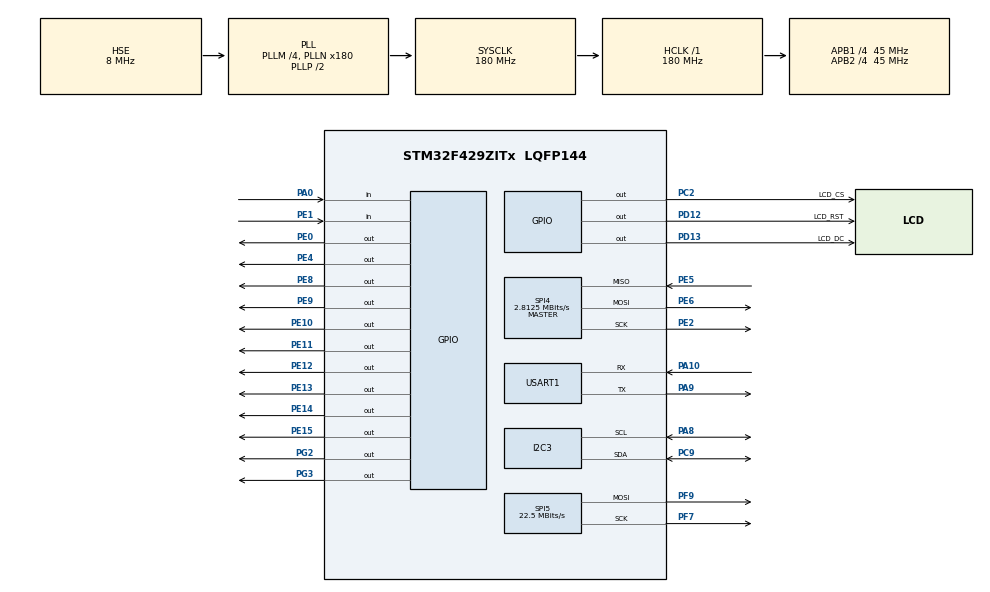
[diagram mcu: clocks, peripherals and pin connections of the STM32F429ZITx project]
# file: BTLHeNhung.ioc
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Dma.Request0=SPI5_TX
Dma.SPI5_TX.0.Direction=DMA_MEMORY_TO_PERIPH
Dma.SPI5_TX.0.FIFOMode=DMA_FIFOMODE_DISABLE
Dma.SPI5_TX.0.Instance=DMA2_Stream4
Dma.SPI5_TX.0.MemDataAlignment=DMA_MDATAALIGN_BYTE
Dma.SPI5_TX.0.MemInc=DMA_MINC_ENABLE
Dma.SPI5_TX.0.Mode=DMA_NORMAL
Dma.SPI5_TX.0.PeriphDataAlignment=DMA_PDATAALIGN_BYTE
Dma.SPI5_TX.0.PeriphInc=DMA_PINC_DISABLE
Dma.SPI5_TX.0.Priority=DMA_PRIORITY_LOW
I2C3.I2C_Mode=I2C_Standard
Mcu.Family=STM32F4
Mcu.Name=STM32F429ZITx
Mcu.Package=LQFP144
NVIC.DMA2_Stream4_IRQn=true\:0\:0\:false\:false\:true\:false\:true\:true
NVIC.PriorityGroup=NVIC_PRIORITYGROUP_4
NVIC.TIM6_DAC_IRQn=true\:0\:0\:false\:false\:true\:true\:true\:true
PA0/WKUP.Signal=GPIO_Input
PA10.Mode=Asynchronous
PA10.Signal=USART1_RX
PA13.Mode=Serial_Wire
PA13.Signal=SYS_JTMS-SWDIO
PA14.Mode=Serial_Wire
PA14.Signal=SYS_JTCK-SWCLK
PA8.Mode=I2C
PA8.Signal=I2C3_SCL
PA9.Mode=Asynchronous
PA9.Signal=USART1_TX
PC2.GPIO_Label=LCD_CS
PC2.GPIO_Speed=GPIO_SPEED_FREQ_VERY_HIGH
PC2.PinState=GPIO_PIN_SET
PC2.Signal=GPIO_Output
PC9.Mode=I2C
PC9.Signal=I2C3_SDA
PD12.GPIO_Label=LCD_RST
PD12.GPIO_Speed=GPIO_SPEED_FREQ_VERY_HIGH
PD12.PinState=GPIO_PIN_SET
PD12.Signal=GPIO_Output
PD13.GPIO_Label=LCD_DC
PD13.GPIO_Speed=GPIO_SPEED_FREQ_VERY_HIGH
PD13.Signal=GPIO_Output
PE0.Signal=GPIO_Output
PE1.Signal=GPIO_Input
PE10.Signal=GPIO_Output
PE11.Signal=GPIO_Output
PE12.Signal=GPIO_Output
PE13.Signal=GPIO_Output
PE14.Signal=GPIO_Output
PE15.Signal=GPIO_Output
PE2.Mode=Full_Duplex_Master
PE2.Signal=SPI4_SCK
PE4.Signal=GPIO_Output
PE5.Mode=Full_Duplex_Master
PE5.Signal=SPI4_MISO
PE6.Mode=Full_Duplex_Master
PE6.Signal=SPI4_MOSI
PE8.Signal=GPIO_Output
PE9.Signal=GPIO_Output
PF7.Mode=TX_Only_Simplex_Unidirect_Master
PF7.Signal=SPI5_SCK
PF9.Mode=TX_Only_Simplex_Unidirect_Master
PF9.Signal=SPI5_MOSI
PG2.Signal=GPIO_Output
PG3.Signal=GPIO_Output
PH0/OSC_IN.Mode=HSE-External-Oscillator
PH0/OSC_IN.Signal=RCC_OSC_IN
PH1/OSC_OUT.Mode=HSE-External-Oscillator
PH1/OSC_OUT.Signal=RCC_OSC_OUT
ProjectManager.HeapSize=0x200
ProjectManager.StackSize=0x400
ProjectManager.TargetToolchain=STM32CubeIDE
RCC.48MHZClocksFreq_Value=90000000
RCC.AHBFreq_Value=180000000
RCC.APB1CLKDivider=RCC_HCLK_DIV4
RCC.APB1Freq_Value=45000000
RCC.APB1TimFreq_Value=90000000
RCC.APB2CLKDivider=RCC_HCLK_DIV4
RCC.APB2Freq_Value=45000000
RCC.APB2TimFreq_Value=90000000
RCC.CortexFreq_Value=180000000
RCC.HCLKFreq_Value=180000000
RCC.HSE_VALUE=8000000
RCC.HSI_VALUE=16000000
RCC.LSE_VALUE=32768
RCC.PLLM=4
RCC.PLLN=180
RCC.PLLSourceVirtual=RCC_PLLSOURCE_HSE
RCC.SYSCLKFreq_VALUE=180000000
RCC.SYSCLKSource=RCC_SYSCLKSOURCE_PLLCLK
RCC.VCOOutputFreq_Value=360000000
SPI4.BaudRatePrescaler=SPI_BAUDRATEPRESCALER_16
SPI4.CalculateBaudRate=2.8125 MBits/s
SPI4.Direction=SPI_DIRECTION_2LINES
SPI4.Mode=SPI_MODE_MASTER
SPI4.VirtualType=VM_MASTER
SPI5.CalculateBaudRate=22.5 MBits/s
SPI5.Direction=SPI_DIRECTION_2LINES
SPI5.Mode=SPI_MODE_MASTER
SPI5.VirtualType=VM_MASTER
TIM2.Prescaler=71
TIM6.Period=99
TIM6.Prescaler=89
USART1.VirtualMode=VM_ASYNC
VP_TIM2_VS_ClockSourceINT.Mode=Internal
VP_TIM6_VS_ClockSourceINT.Mode=Enable_Timer
board=custom

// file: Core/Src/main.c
/* USER CODE BEGIN Header */
/**
  ******************************************************************************
  * @file           : main.c
  * @brief          : Main program body
  ******************************************************************************
  * @attention
  *
  * Copyright (c) 2025 STMicroelectronics.
  * All rights reserved.
  *
  * This software is licensed under terms that can be found in the LICENSE file
  * in the root directory of this software component.
  * If no LICENSE file comes with this software, it is provided AS-IS.
  *
  ******************************************************************************
  */
/* USER CODE END Header */
#include "main.h"

/* USER CODE BEGIN Includes */
#include <stdio.h>
#include <string.h>
#include "tm_stm32f4_mfrc522.h"
#include "7seg.h"
#include <stdbool.h>
#include "ILI9341_STM32_Driver.h"
#include "ILI9341_GFX.h"
#include "fonts.h"
/* USER CODE END Includes */

/* USER CODE BEGIN PTD */
typedef struct {
    uint8_t sec, min, hour, date, month, year;
} RTC_Time;
/* USER CODE END PTD */

/* USER CODE BEGIN PD */
#define HX711_SCK_GPIO_Port GPIOB
#define HX711_SCK_Pin GPIO_PIN_6
#define HX711_DT_GPIO_Port GPIOB
#define HX711_DT_Pin GPIO_PIN_7

/* Bat CALIBRATION_MODE = 1 de CHI doc va in gia tri RAW cua HX711 qua UART
 * (dung luc chua dat gi / dat qua can chuan, de xac dinh tare va knownHX711_raw).
 * Sau khi hieu chuan xong, dat lai = 0 de chay che do can + LED + RFID binh thuong. */
#define CALIBRATION_MODE 0
/* USER CODE END PD */

I2C_HandleTypeDef hi2c3;

SPI_HandleTypeDef hspi4;
SPI_HandleTypeDef hspi5;
DMA_HandleTypeDef hdma_spi5_tx;

TIM_HandleTypeDef htim2;
TIM_HandleTypeDef htim6;

UART_HandleTypeDef huart1;

/* USER CODE BEGIN PV */
int TIM6_Count;
unsigned char LED_Value;
/* USER CODE END PV */

void SystemClock_Config(void);
static void MX_GPIO_Init(void);
static void MX_DMA_Init(void);
static void MX_I2C3_Init(void);
static void MX_SPI4_Init(void);
static void MX_USART1_UART_Init(void);
static void MX_TIM6_Init(void);
static void MX_TIM2_Init(void);
static void MX_SPI5_Init(void);

/* USER CODE BEGIN 0 */

/* ---------- Du lieu luu tru theo the RFID ---------- */
typedef struct {
	int stt;
	uint8_t CardID[5];
	float canNang_g;     // Luon luu theo don vi goc: GRAM (khong phu thuoc don vi dang hien thi)
	RTC_Time timestamp;
} DuLieuCanNang;

/* ---------- Chan HX711 ---------- */
#define SCK_PIN   GPIO_PIN_0
#define SCK_PORT  GPIOE
#define DT_PIN    GPIO_PIN_1
#define DT_PORT   GPIOE

/* ---------- Hieu chuan HX711 ---------- */
// tare: gia tri raw trung binh khi KHONG co tai (do bang cach in ra UART luc ban dau, khong dat gi len ban can)
int32_t tare = 7723582;

// Hieu chuan 2 diem: dat mot vat co khoi luong CHUAN (vd qua can 5kg) len ban can,
// ghi lai gia tri raw (average) tra ve, roi tinh:
//   knownHX711_raw = average_khi_co_vat - tare
//   knownOriginal_g = khoi luong that cua vat chuan (don vi: GRAM)
float knownOriginal_g = 500.0f;
float knownHX711_raw  = -25760.0f;

/* ---------- Don vi hien thi (chuyen bang nut B1) ---------- */
typedef enum {
	UNIT_KG = 0,
	UNIT_G,
	UNIT_LBS,
	UNIT_COUNT
} WeightUnit;

volatile WeightUnit currentUnit = UNIT_KG;
const char *unitName[UNIT_COUNT] = { "kg", "g", "lbs" };

/* Gioi han hien thi LED 7 doan: chi dung 2 LED 7 thanh -> hien thi duoc 0-99. */
#define LED_MAX_VALUE 99

/* ---------- Bo cuc man hinh (LCD 320 x 240, SCREEN_HORIZONTAL_1) ----------
 * Duoc dan trai ra toan bo chieu cao/chieu rong man hinh (thay vi chi
 * chiem 1 goc nho nhu truoc) va co khoang cach du de khong bi chong lan. */
#define LABEL_X        10     // Cot nhan (ten truong du lieu)
#define VALUE_X        150    // Cot gia tri (du lieu thay doi)

#define STATUS_Y       45     // Dong "Trang thai"
#define WEIGHT_Y       80     // Dong "Can nang"
#define CARDID_Y       125    // Dong "Ma the"
#define UNIT_Y         160    // Dong "Don vi"
#define COUNT_Y        190    // Dong "So the da luu"
#define FOOTER_LINE_Y  215    // Duong ke chan man hinh

/* Do rong CO DINH (so ky tu) cho tung truong gia tri. Moi lan ve lai, ca vung
 * nay se duoc ve chen khoang trang cho du day chieu rong -> du lieu cu, du
 * ngan hay dai hon du lieu moi, se luon bi xoa sach hoan toan (khong con bi
 * "dinh" lai tren man hinh gay hien tuong chu no de len chu kia). */
#define STATUS_FIELD_WIDTH   20
#define WEIGHT_FIELD_WIDTH   16
#define CARDID_FIELD_WIDTH   16
#define UNIT_FIELD_WIDTH       6
#define COUNT_FIELD_WIDTH      6

/* Thoi gian toi thieu (ms) 1 thong bao trang thai duoc GIU tren man hinh
 * truoc khi cho phep trang thai "Dang cho the..." (idle) ghi de len. Nho vay
 * khi vua quet the / vua doi don vi, nguoi dung van con kip doc duoc. */
#define STATUS_HOLD_MS      1500U

#define RTC_DEV_ADDR (0x68 << 1)

// Chuyển BCD <-> DEC cho RTC
uint8_t BCD2DEC(uint8_t val) { return ((val / 16 * 10) + (val % 16)); }
uint8_t DEC2BCD(uint8_t val) { return ((val / 10 * 16) + (val % 10)); }

void RTC_SetTime(uint8_t sec, uint8_t min, uint8_t hour, uint8_t date, uint8_t month, uint8_t year) {
    uint8_t set_time[7] = {DEC2BCD(sec), DEC2BCD(min), DEC2BCD(hour), DEC2BCD(1), DEC2BCD(date), DEC2BCD(month), DEC2BCD(year)};
    HAL_I2C_Mem_Write(&hi2c3, RTC_DEV_ADDR, 0x00, I2C_MEMADD_SIZE_8BIT, set_time, 7, 100);
}

void RTC_SetTimeFromCompiler(void) {
    char monthStr[4];
    int day, year, hour, min, sec;
    const char *months[] = {"Jan", "Feb", "Mar", "Apr", "May", "Jun",
                            "Jul", "Aug", "Sep", "Oct", "Nov", "Dec"};

    // Parse ngày: "Mmm dd yyyy" (VD: "Jul 23 2026")
    sscanf(__DATE__, "%s %d %d", monthStr, &day, &year);
    // Parse giờ: "hh:mm:ss" (VD: "20:42:00")
    sscanf(__TIME__, "%d:%d:%d", &hour, &min, &sec);

    uint8_t month = 1;
    for (uint8_t i = 0; i < 12; i++) {
        if (strncmp(monthStr, months[i], 3) == 0) {
            month = i + 1;
            break;
        }
    }

    // Nạp thời gian máy tính vào RTC
    RTC_SetTime((uint8_t)sec, (uint8_t)min, (uint8_t)hour, (uint8_t)day, month, (uint8_t)(year % 100));
}

void RTC_GetTime(RTC_Time *time) {
	uint8_t get_time[7] = {0};

	    // Đọc 7 thanh ghi từ địa chỉ 0x00 của RTC
	    if (HAL_I2C_Mem_Read(&hi2c3, RTC_DEV_ADDR, 0x00, I2C_MEMADD_SIZE_8BIT, get_time, 7, 100) == HAL_OK) {
	        time->sec   = BCD2DEC(get_time[0] & 0x7F); // Lọc bỏ bit Clock Halt
	        time->min   = BCD2DEC(get_time[1] & 0x7F);
	        time->hour  = BCD2DEC(get_time[2] & 0x3F); // Lọc bit 12/24h
	        time->date  = BCD2DEC(get_time[4] & 0x3F);
	        time->month = BCD2DEC(get_time[5] & 0x1F);
	        time->year  = BCD2DEC(get_time[6]);
	    } else {
	        // Nếu I2C bị lỗi/mất kết nối với RTC thì gán về 0 tránh in ra số rác
	        time->sec = 0; time->min = 0; time->hour = 0;
	        time->date = 1; time->month = 1; time->year = 26;
	    }
}

void microDelay(uint16_t delay)
{
  __HAL_TIM_SET_COUNTER(&htim2, 0);
  while (__HAL_TIM_GET_COUNTER(&htim2) < delay);
}

int32_t getHX711(void)
{
  uint32_t data = 0;
  uint32_t startTime = HAL_GetTick();
  while(HAL_GPIO_ReadPin(DT_PORT, DT_PIN) == GPIO_PIN_SET)
  {
    if(HAL_GetTick() - startTime > 200)
      return 0;
  }
  for(int8_t len=0; len<24 ; len++)
  {
    HAL_GPIO_WritePin(SCK_PORT, SCK_PIN, GPIO_PIN_SET);
    microDelay(1);
    data = data << 1;
    HAL_GPIO_WritePin(SCK_PORT, SCK_PIN, GPIO_PIN_RESET);
    microDelay(1);
    if(HAL_GPIO_ReadPin(DT_PORT, DT_PIN) == GPIO_PIN_SET)
      data ++;
  }
  data = data ^ 0x800000;
  HAL_GPIO_WritePin(SCK_PORT, SCK_PIN, GPIO_PIN_SET);
  microDelay(1);
  HAL_GPIO_WritePin(SCK_PORT, SCK_PIN, GPIO_PIN_RESET);
  microDelay(1);
  return data;
}

/**
 * @brief  Can va tra ve khoi luong o don vi GOC: GRAM (float).
 *         Day la ham "nguon su that" duy nhat cho khoi luong; moi noi khac
 *         (LED, UART, luu tru RFID) deu quy doi tu gia tri gram nay.
 */
float weigh_grams(void)
{
  int32_t total = 0;
  const int32_t samples = 50;

  for (int32_t i = 0; i < samples; i++) {
    total += getHX711();
  }
  int32_t average = total / samples;

  float coefficient = knownOriginal_g / knownHX711_raw; // gram / (don vi raw)
  float grams = (float)(average - tare) * coefficient;

  if (grams < 0) grams = 0;
  return grams;
}

/**
 * @brief Quy doi khoi luong tu gram sang don vi dang chon (kg/g/lbs) de hien thi.
 */
float convertWeight(float grams, WeightUnit unit)
{
  switch (unit) {
    case UNIT_KG:  return grams / 1000.0f;
    case UNIT_G:   return grams;
    case UNIT_LBS: return grams / 453.59237f;
    default:       return grams;
  }
}

/**
 * @brief Chuyen gia tri hien thi (da quy doi don vi) thanh so nguyen de day
 *        ra LED 7 doan, co gioi han (clamp) tranh tran so.
 */
int weightToLed(float displayWeight)
{
  int ledValue = (int)(displayWeight + 0.5f);
  if (ledValue > LED_MAX_VALUE) ledValue = LED_MAX_VALUE;
  if (ledValue < 0) ledValue = 0;
  return ledValue;
}

/**
 * @brief Ve 1 truong du lieu tai (x,y) voi do rong KY TU CO DINH (fieldWidth).
 *        Chuoi hien thi luon duoc dem them khoang trang cho du day do rong nay,
 *        nen du lieu cu (du dai hay ngan hon du lieu moi) se luon duoc xoa het,
 *        khac phuc loi "du lieu sau bi de/chong len du lieu truoc".
 */
static void LCD_DrawField(uint16_t x,
                          uint16_t y,
                          uint8_t fieldWidth,
                          const uint8_t font[],
                          const char *text,
                          uint16_t color)
{
    uint16_t charWidth;
    uint16_t charHeight;

    if(font == FONT4)
    {
        charWidth  = 16;
        charHeight = 26;
    }
    else if(font == FONT3)
    {
        charWidth  = 11;
        charHeight = 18;
    }
    else
    {
        charWidth  = 8;
        charHeight = 16;
    }

    // Xóa toàn bộ vùng trước
    ILI9341_DrawRectangle(
        x,
        y,
        fieldWidth * charWidth,
        charHeight,
        WHITE);

    // Vẽ lại nội dung mới
    ILI9341_DrawText(text, font, x, y, color, WHITE);
}

/**
 * @brief Hien thi dong "Trang thai" tren LCD, nhung GIU nguyen thong bao hien
 *        tai toi thieu STATUS_HOLD_MS truoc khi cho phep trang thai "idle"
 *        (Dang cho the...) ghi de len. Nho vay thong bao (vd "Da update data!",
 *        "Tao the moi!"...) khong bi xoa qua nhanh, du nguoi dung co doi don vi
 *        hay nhac the ra ngay sau do.
 */
static void ShowStatus(const char *text, uint16_t color)
{
  static char lastText[STATUS_FIELD_WIDTH + 1] = "";
  static uint32_t holdUntil = 0;
  uint32_t now = HAL_GetTick();
  uint8_t isIdle = (strcmp(text, "Dang cho the...") == 0);

  if (isIdle && now < holdUntil)
  {
    return; // Con dang trong thoi gian giu thong bao truoc do
  }

  if (strcmp(text, lastText) != 0)
  {
    LCD_DrawField(VALUE_X, STATUS_Y, STATUS_FIELD_WIDTH, FONT3, text, color);
    strncpy(lastText, text, sizeof(lastText) - 1);
    lastText[sizeof(lastText) - 1] = '\0';
  }

  if (!isIdle)
  {
    holdUntil = now + STATUS_HOLD_MS;
  }
}

/* USER CODE END 0 */

int main(void)
{

  /* MCU Configuration--------------------------------------------------------*/

  /* Reset of all peripherals, Initializes the Flash interface and the Systick. */
	RTC_Time currentTime;

	HAL_Init();

  /* Configure the system clock */
  SystemClock_Config();

  /* Initialize all configured peripherals */
  MX_GPIO_Init();
  MX_DMA_Init();
  MX_I2C3_Init();
  MX_SPI4_Init();
  MX_USART1_UART_Init();
  MX_TIM6_Init();
  MX_TIM2_Init();
  MX_SPI5_Init();
  /* USER CODE BEGIN 2 */
   HAL_TIM_Base_Start(&htim2); // Cho microDelay
   // Cac dong HX711 init
   HAL_GPIO_WritePin(SCK_PORT, SCK_PIN, GPIO_PIN_SET); // HX711 SCK init
   HAL_Delay(10);
   HAL_GPIO_WritePin(SCK_PORT, SCK_PIN, GPIO_PIN_RESET);
   HAL_Delay(10);

   HAL_TIM_Base_Start_IT(&htim6); // Quan trong: Khoi dong TIM6 o che do ngat
   Set7SegDisplayValue(0); // Gia tri ban dau

//   RTC_SetTimeFromCompiler();

   // static: nam trong vung .bss, KHONG chiem stack (tranh stack overflow voi mang 1000 phan tu)
   static DuLieuCanNang duLieu[1000];
   int stt = 0;          // So luong ban ghi da luu = index se ghi tiep theo
   char buf[100];
   char lcdBuf[40];      // Buffer dung rieng cho hien thi LCD

   TM_MFRC522_Init();

   uint8_t oldButton = GPIO_PIN_RESET;
   uint32_t lastButtonTick = 0;

   // ----------------------------------------------------
   // KHOI TAO LCD VA VE GIAO DIEN TINH (DAN TRAI TOAN BO MAN HINH 320x240)
   // ----------------------------------------------------
   ILI9341_Init();
   ILI9341_SetRotation(SCREEN_HORIZONTAL_1);
   ILI9341_FillScreen(WHITE);

   // ----- Tieu de + duong ke ngan cach -----
   ILI9341_DrawText("HE NHUNG 2025.2", FONT3, 10, 8, BLUE, WHITE);
   ILI9341_DrawHLine(0, 30, ILI9341_SCREEN_WIDTH, DARKGREY);

   // ----- Cac nhan (label) co dinh, khong doi trong suot qua trinh chay -----
   ILI9341_DrawText("Trang thai:",    FONT3, LABEL_X, STATUS_Y, BLACK, WHITE);
   ILI9341_DrawText("Can nang:",      FONT3, LABEL_X, WEIGHT_Y, BLACK, WHITE);
   ILI9341_DrawText("Ma the:",        FONT3, LABEL_X, CARDID_Y, BLACK, WHITE);
   ILI9341_DrawText("Don vi:",        FONT3, LABEL_X, UNIT_Y, BLACK, WHITE);
   ILI9341_DrawText("So the da luu:", FONT3, LABEL_X, COUNT_Y, BLACK, WHITE);

   // ----- Chan man hinh -----
   ILI9341_DrawHLine(0, FOOTER_LINE_Y, ILI9341_SCREEN_WIDTH, DARKGREY);
   ILI9341_DrawText("Nhan nut B1 de doi don vi kg / g / lbs", FONT3, 10, FOOTER_LINE_Y + 8, DARKGREY, WHITE);

   // ----- Gia tri khoi tao cho tung truong -----
   ShowStatus("Dang cho the...", DARKGREY);
   LCD_DrawField(VALUE_X, WEIGHT_Y, WEIGHT_FIELD_WIDTH, FONT4, "0.00 kg", RED);
   LCD_DrawField(VALUE_X, CARDID_Y, CARDID_FIELD_WIDTH, FONT3, "---", BLACK);
   LCD_DrawField(VALUE_X, UNIT_Y, UNIT_FIELD_WIDTH, FONT3, unitName[currentUnit], PURPLE);
   LCD_DrawField(VALUE_X, COUNT_Y, COUNT_FIELD_WIDTH, FONT3, "0", DARKGREEN);
  /* USER CODE END 2 */

  /* Infinite loop */
  while (1)
  {

    /* USER CODE BEGIN 3 */
	  RTC_GetTime(&currentTime);

	  uint8_t CardID[5];

#if CALIBRATION_MODE
	  /* ============================================================
	   * CHE DO HIEU CHUAN: chi doc va in RAW cua HX711 qua UART.
	   * - Khong dat gi len ban can  -> ghi lai RAW nay lam gia tri "tare".
	   * - Dat qua can chuan (vd 5kg) len ban can -> ghi lai RAW nay, roi tinh:
	   *       knownHX711_raw = RAW_luc_co_qua_can - tare
	   * Sau khi co du 2 so tren, cap nhat vao "tare" va "knownHX711_raw" o dau
	   * file, roi dat CALIBRATION_MODE = 0 de chay che do can + LED + RFID.
	   * ============================================================ */
	  int32_t raw = getHX711();

	  sprintf(buf, "RAW = %ld", raw);
	  HAL_UART_Transmit(&huart1, (uint8_t *)buf, strlen(buf), 100);
	  HAL_UART_Transmit(&huart1, (uint8_t *)"\r\n", 2, 100);

	  HAL_Delay(500);

#else
	  /* ---- 1. Doc nut B1 (PA0) de doi don vi, khong dung HAL_Delay chan chuong trinh ---- */
	  uint8_t newButton = HAL_GPIO_ReadPin(GPIOA, GPIO_PIN_0);
	  if (newButton == GPIO_PIN_SET && oldButton == GPIO_PIN_RESET &&
	      (HAL_GetTick() - lastButtonTick) > 200)
	  {
	      currentUnit = (WeightUnit)((currentUnit + 1) % UNIT_COUNT);
	      lastButtonTick = HAL_GetTick();
	      // Cap nhat ngay dong "Don vi:" - dung field co dinh nen khong can xoa trang thu cong
	      LCD_DrawField(VALUE_X, UNIT_Y, UNIT_FIELD_WIDTH, FONT3, unitName[currentUnit], PURPLE);
	  }
	  oldButton = newButton;

	  /* ---- 2. HX711 luon duoc quet & cap nhat MOI VONG LAP (khong phu thuoc RFID/nut bam) ---- */
	  float weightGrams = weigh_grams();               // luon la gram, khong am
	  float displayWeight = convertWeight(weightGrams, currentUnit); // theo don vi dang chon hien tai

	  // LED 7 doan LUON hien thi theo KG, khong phu thuoc don vi dang chon boi nut B1
	  int ledValue = weightToLed(convertWeight(weightGrams, UNIT_KG));
	  Set7SegDisplayValue(ledValue);

	  // LCD hien thi can nang hien tai (thanh ghi real-time), do rong co dinh
	  // nen doi don vi (chuoi ngan/dai khac nhau) khong con de lai ky tu cu
	  sprintf(lcdBuf, "%.2f %s", displayWeight, unitName[currentUnit]);
	  LCD_DrawField(VALUE_X, WEIGHT_Y, WEIGHT_FIELD_WIDTH, FONT4, lcdBuf, RED);

	  sprintf(buf, "[%02d:%02d:%02d - %02d/%02d/20%02d] Can Nang: %.2f %s\r\n",
	  	          currentTime.hour, currentTime.min, currentTime.sec,
	  	          currentTime.date, currentTime.month, currentTime.year,
	  	          displayWeight, unitName[currentUnit]);
	  HAL_UART_Transmit(&huart1, (uint8_t *)buf, strlen(buf), 100);
	  HAL_UART_Transmit(&huart1, (uint8_t *)"\n", 1, 100);
	  HAL_Delay(50);

	  /* ---- 3. Quet the RFID ---- */
	  if(TM_MFRC522_Check(CardID) == MI_OK){
	      sprintf(buf, "ID: %02X%02X%02X%02X%02X", CardID[0], CardID[1], CardID[2], CardID[3],CardID[4]);
	      HAL_UART_Transmit(&huart1, (uint8_t *)buf, strlen(buf), 1000);
	      HAL_UART_Transmit(&huart1, (uint8_t *)"\n", 1, 1000);

	      // Hien thi ma the vua quet duoc len dong "Ma the:"
	      sprintf(lcdBuf, "%02X%02X%02X%02X%02X", CardID[0], CardID[1], CardID[2], CardID[3], CardID[4]);
	      LCD_DrawField(VALUE_X, CARDID_Y, CARDID_FIELD_WIDTH, FONT3, lcdBuf, BLACK);

	      bool tonTai = false;

	      for(int i = 0; i < stt; i++){
	          if(memcmp(duLieu[i].CardID, CardID, sizeof(CardID)) == 0){
	              tonTai = true;

	              if(weightGrams > 0){
	                  // Cap nhat du lieu cu bang can nang moi vua do
	                  duLieu[i].canNang_g = weightGrams;
	                  duLieu[i].timestamp = currentTime;

	                  // Hien thi LCD trang thai (duoc giu toi thieu STATUS_HOLD_MS)
	                  ShowStatus("Da update data!", DARKGREEN);

	                  float shown = convertWeight(duLieu[i].canNang_g, currentUnit);
	                  sprintf(buf, "\r\n========================================\r\n"
	                                           "ID: %02X %02X %02X %02X %02X (UPDATE)\r\n"
	                                           "Date: %02d/%02d/20%02d\r\n"
	                                           "Time: %02d:%02d:%02d\r\n"
	                                           "Weight: %.2f %s\r\n"
	                                           "========================================\r\n",
	                                      CardID[0], CardID[1], CardID[2], CardID[3], CardID[4],
	                                      currentTime.date, currentTime.month, currentTime.year,
	                                      currentTime.hour, currentTime.min, currentTime.sec,
	                                      shown, unitName[currentUnit]);
	              } else {
	                  // Khong co vat tren ban can -> hien thi lai du lieu cu da luu cho the nay
	                  ShowStatus("Dang doc the cu", BLUE);

	                  float shown = convertWeight(duLieu[i].canNang_g, currentUnit);

	                  // De gia tri cu len man hinh thay cho can nang thuc te (luc nay = 0)
	                  sprintf(lcdBuf, "%.2f %s (Cu)", shown, unitName[currentUnit]);
	                  LCD_DrawField(VALUE_X, WEIGHT_Y, WEIGHT_FIELD_WIDTH, FONT4, lcdBuf, BLUE);

	                  sprintf(buf, "\r\n========================================\r\n"
	                                           "ID: %02X %02X %02X %02X %02X (OLD DATA)\r\n"
	                                           "Date Saved: %02d/%02d/20%02d\r\n"
	                                           "Time Saved: %02d:%02d:%02d\r\n"
	                                           "Weight: %.2f %s\r\n"
	                                           "========================================\r\n",
	                                      duLieu[i].CardID[0], duLieu[i].CardID[1], duLieu[i].CardID[2], duLieu[i].CardID[3], duLieu[i].CardID[4],
	                                      duLieu[i].timestamp.date, duLieu[i].timestamp.month, duLieu[i].timestamp.year,
	                                      duLieu[i].timestamp.hour, duLieu[i].timestamp.min, duLieu[i].timestamp.sec,
	                                      shown, unitName[currentUnit]);

	                  // LED van luon hien thi theo kg
	                  Set7SegDisplayValue(weightToLed(convertWeight(duLieu[i].canNang_g, UNIT_KG)));
	              }

	              HAL_UART_Transmit(&huart1, (uint8_t *)buf, strlen(buf), 1000);
	              HAL_UART_Transmit(&huart1, (uint8_t *)"\n", 1, 1000);
	              break;
	          }
	      }

	      if(!tonTai && weightGrams > 0){
	          if (stt < 1000) {
	              duLieu[stt].stt = stt;
	              memcpy(duLieu[stt].CardID, CardID, sizeof(CardID));
	              duLieu[stt].canNang_g = weightGrams;
	              duLieu[stt].timestamp = currentTime;

	              // Hien thi LCD trang thai tao the moi + cap nhat so the da luu
	              ShowStatus("Tao the moi!", MAGENTA);
	              sprintf(lcdBuf, "%d", stt + 1);
	              LCD_DrawField(VALUE_X, COUNT_Y, COUNT_FIELD_WIDTH, FONT3, lcdBuf, DARKGREEN);

	              float shown = convertWeight(duLieu[stt].canNang_g, currentUnit);
	              sprintf(buf, "\r\n========================================\r\n"
	                                   "ID: %02X %02X %02X %02X %02X (NEW CARD)\r\n"
	                                   "Date: %02d/%02d/20%02d\r\n"
	                                   "Time: %02d:%02d:%02d\r\n"
	                                   "Weight: %.2f %s\r\n"
	                                   "========================================\r\n",
	                              CardID[0], CardID[1], CardID[2], CardID[3], CardID[4],
	                              currentTime.date, currentTime.month, currentTime.year,
	                              currentTime.hour, currentTime.min, currentTime.sec,
	                              shown, unitName[currentUnit]);

	              HAL_UART_Transmit(&huart1, (uint8_t *)buf, strlen(buf), 1000);
	              HAL_UART_Transmit(&huart1, (uint8_t *)"\n", 1, 1000);

	              stt++;
	          } else {
	              HAL_UART_Transmit(&huart1, (uint8_t *)buf, strlen(buf), 1000);
	              HAL_UART_Transmit(&huart1, (uint8_t *)"\n", 1, 1000);
	          }
	      } else if(!tonTai && weightGrams <= 0){
	          ShowStatus("Chua co du lieu", ORANGE);
	          sprintf(buf, "Khong ton tai du lieu cu");
	          HAL_UART_Transmit(&huart1, (uint8_t *)buf, strlen(buf), 1000);
	          HAL_UART_Transmit(&huart1, (uint8_t *)"\n", 1, 1000);
	      }

	      HAL_Delay(50);
	  }else{
		  // Khong co the: chi chuyen ve "Dang cho the..." SAU KHI het thoi gian giu
		  // thong bao truoc do (xu ly ben trong ShowStatus) -> khong bi mat du lieu
		  // vua hien thi qua nhanh khi rut the ra.
		  ShowStatus("Dang cho the...", DARKGREY);

		  sprintf(buf, "Khong co the !");
		  HAL_UART_Transmit(&huart1, (uint8_t *)buf, strlen(buf), 1000);
		  HAL_UART_Transmit(&huart1, (uint8_t *)"\n", 1, 1000);
		  HAL_Delay(50);
	  }
#endif /* CALIBRATION_MODE */

    /* USER CODE BEGIN 3 */
  }
  /* USER CODE END 3 */
}

void SystemClock_Config(void)
{
  RCC_OscInitTypeDef RCC_OscInitStruct = {0};
  RCC_ClkInitTypeDef RCC_ClkInitStruct = {0};

  /** Configure the main internal regulator output voltage
  */
  __HAL_RCC_PWR_CLK_ENABLE();
  __HAL_PWR_VOLTAGESCALING_CONFIG(PWR_REGULATOR_VOLTAGE_SCALE1);

  /** Initializes the RCC Oscillators according to the specified parameters
  * in the RCC_OscInitTypeDef structure.
  */
  RCC_OscInitStruct.OscillatorType = RCC_OSCILLATORTYPE_HSE;
  RCC_OscInitStruct.HSEState = RCC_HSE_ON;
  RCC_OscInitStruct.PLL.PLLState = RCC_PLL_ON;
  RCC_OscInitStruct.PLL.PLLSource = RCC_PLLSOURCE_HSE;
  RCC_OscInitStruct.PLL.PLLM = 4;
  RCC_OscInitStruct.PLL.PLLN = 180;
  RCC_OscInitStruct.PLL.PLLP = RCC_PLLP_DIV2;
  RCC_OscInitStruct.PLL.PLLQ = 4;
  if (HAL_RCC_OscConfig(&RCC_OscInitStruct) != HAL_OK)
  {
    Error_Handler();
  }

  /** Activate the Over-Drive mode
  */
  if (HAL_PWREx_EnableOverDrive() != HAL_OK)
  {
    Error_Handler();
  }

  /** Initializes the CPU, AHB and APB buses clocks
  */
  RCC_ClkInitStruct.ClockType = RCC_CLOCKTYPE_HCLK|RCC_CLOCKTYPE_SYSCLK
                              |RCC_CLOCKTYPE_PCLK1|RCC_CLOCKTYPE_PCLK2;
  RCC_ClkInitStruct.SYSCLKSource = RCC_SYSCLKSOURCE_PLLCLK;
  RCC_ClkInitStruct.AHBCLKDivider = RCC_SYSCLK_DIV1;
  RCC_ClkInitStruct.APB1CLKDivider = RCC_HCLK_DIV4;
  RCC_ClkInitStruct.APB2CLKDivider = RCC_HCLK_DIV4;

  if (HAL_RCC_ClockConfig(&RCC_ClkInitStruct, FLASH_LATENCY_5) != HAL_OK)
  {
    Error_Handler();
  }
}

static void MX_I2C3_Init(void)
{

  hi2c3.Instance = I2C3;
  hi2c3.Init.ClockSpeed = 100000;
  hi2c3.Init.DutyCycle = I2C_DUTYCYCLE_2;
  hi2c3.Init.OwnAddress1 = 0;
  hi2c3.Init.AddressingMode = I2C_ADDRESSINGMODE_7BIT;
  hi2c3.Init.DualAddressMode = I2C_DUALADDRESS_DISABLE;
  hi2c3.Init.OwnAddress2 = 0;
  hi2c3.Init.GeneralCallMode = I2C_GENERALCALL_DISABLE;
  hi2c3.Init.NoStretchMode = I2C_NOSTRETCH_DISABLE;
  if (HAL_I2C_Init(&hi2c3) != HAL_OK)
  {
    Error_Handler();
  }

  /** Configure Analogue filter
  */
  if (HAL_I2CEx_ConfigAnalogFilter(&hi2c3, I2C_ANALOGFILTER_ENABLE) != HAL_OK)
  {
    Error_Handler();
  }

  /** Configure Digital filter
  */
  if (HAL_I2CEx_ConfigDigitalFilter(&hi2c3, 0) != HAL_OK)
  {
    Error_Handler();
  }

}

static void MX_SPI4_Init(void)
{

  /* SPI4 parameter configuration*/
  hspi4.Instance = SPI4;
  hspi4.Init.Mode = SPI_MODE_MASTER;
  hspi4.Init.Direction = SPI_DIRECTION_2LINES;
  hspi4.Init.DataSize = SPI_DATASIZE_8BIT;
  hspi4.Init.CLKPolarity = SPI_POLARITY_LOW;
  hspi4.Init.CLKPhase = SPI_PHASE_1EDGE;
  hspi4.Init.NSS = SPI_NSS_SOFT;
  hspi4.Init.BaudRatePrescaler = SPI_BAUDRATEPRESCALER_16;
  hspi4.Init.FirstBit = SPI_FIRSTBIT_MSB;
  hspi4.Init.TIMode = SPI_TIMODE_DISABLE;
  hspi4.Init.CRCCalculation = SPI_CRCCALCULATION_DISABLE;
  hspi4.Init.CRCPolynomial = 10;
  if (HAL_SPI_Init(&hspi4) != HAL_OK)
  {
    Error_Handler();
  }

}

static void MX_SPI5_Init(void)
{

  /* SPI5 parameter configuration*/
  hspi5.Instance = SPI5;
  hspi5.Init.Mode = SPI_MODE_MASTER;
  hspi5.Init.Direction = SPI_DIRECTION_2LINES;
  hspi5.Init.DataSize = SPI_DATASIZE_8BIT;
  hspi5.Init.CLKPolarity = SPI_POLARITY_LOW;
  hspi5.Init.CLKPhase = SPI_PHASE_1EDGE;
  hspi5.Init.NSS = SPI_NSS_SOFT;
  hspi5.Init.BaudRatePrescaler = SPI_BAUDRATEPRESCALER_2;
  hspi5.Init.FirstBit = SPI_FIRSTBIT_MSB;
  hspi5.Init.TIMode = SPI_TIMODE_DISABLE;
  hspi5.Init.CRCCalculation = SPI_CRCCALCULATION_DISABLE;
  hspi5.Init.CRCPolynomial = 10;
  if (HAL_SPI_Init(&hspi5) != HAL_OK)
  {
    Error_Handler();
  }

}

static void MX_TIM2_Init(void)
{

  TIM_ClockConfigTypeDef sClockSourceConfig = {0};
  TIM_MasterConfigTypeDef sMasterConfig = {0};

  htim2.Instance = TIM2;
  htim2.Init.Prescaler = 71;
  htim2.Init.CounterMode = TIM_COUNTERMODE_UP;
  htim2.Init.Period = 4294967295;
  htim2.Init.ClockDivision = TIM_CLOCKDIVISION_DIV1;
  htim2.Init.AutoReloadPreload = TIM_AUTORELOAD_PRELOAD_DISABLE;
  if (HAL_TIM_Base_Init(&htim2) != HAL_OK)
  {
    Error_Handler();
  }
  sClockSourceConfig.ClockSource = TIM_CLOCKSOURCE_INTERNAL;
  if (HAL_TIM_ConfigClockSource(&htim2, &sClockSourceConfig) != HAL_OK)
  {
    Error_Handler();
  }
  sMasterConfig.MasterOutputTrigger = TIM_TRGO_RESET;
  sMasterConfig.MasterSlaveMode = TIM_MASTERSLAVEMODE_DISABLE;
  if (HAL_TIMEx_MasterConfigSynchronization(&htim2, &sMasterConfig) != HAL_OK)
  {
    Error_Handler();
  }

}

static void MX_TIM6_Init(void)
{

  TIM_MasterConfigTypeDef sMasterConfig = {0};

  htim6.Instance = TIM6;
  htim6.Init.Prescaler = 89;
  htim6.Init.CounterMode = TIM_COUNTERMODE_UP;
  htim6.Init.Period = 99;
  htim6.Init.AutoReloadPreload = TIM_AUTORELOAD_PRELOAD_DISABLE;
  if (HAL_TIM_Base_Init(&htim6) != HAL_OK)
  {
    Error_Handler();
  }
  sMasterConfig.MasterOutputTrigger = TIM_TRGO_RESET;
  sMasterConfig.MasterSlaveMode = TIM_MASTERSLAVEMODE_DISABLE;
  if (HAL_TIMEx_MasterConfigSynchronization(&htim6, &sMasterConfig) != HAL_OK)
  {
    Error_Handler();
  }

}

static void MX_USART1_UART_Init(void)
{

  huart1.Instance = USART1;
  huart1.Init.BaudRate = 115200;
  huart1.Init.WordLength = UART_WORDLENGTH_8B;
  huart1.Init.StopBits = UART_STOPBITS_1;
  huart1.Init.Parity = UART_PARITY_NONE;
  huart1.Init.Mode = UART_MODE_TX_RX;
  huart1.Init.HwFlowCtl = UART_HWCONTROL_NONE;
  huart1.Init.OverSampling = UART_OVERSAMPLING_16;
  if (HAL_UART_Init(&huart1) != HAL_OK)
  {
    Error_Handler();
  }

}

static void MX_DMA_Init(void)
{

  /* DMA controller clock enable */
  __HAL_RCC_DMA2_CLK_ENABLE();

  /* DMA interrupt init */
  /* DMA2_Stream4_IRQn interrupt configuration */
  HAL_NVIC_SetPriority(DMA2_Stream4_IRQn, 0, 0);
  HAL_NVIC_EnableIRQ(DMA2_Stream4_IRQn);

}

static void MX_GPIO_Init(void)
{
  GPIO_InitTypeDef GPIO_InitStruct = {0};

  /* GPIO Ports Clock Enable */
  __HAL_RCC_GPIOE_CLK_ENABLE();
  __HAL_RCC_GPIOF_CLK_ENABLE();
  __HAL_RCC_GPIOH_CLK_ENABLE();
  __HAL_RCC_GPIOC_CLK_ENABLE();
  __HAL_RCC_GPIOA_CLK_ENABLE();
  __HAL_RCC_GPIOD_CLK_ENABLE();
  __HAL_RCC_GPIOG_CLK_ENABLE();

  /*Configure GPIO pin Output Level */
  HAL_GPIO_WritePin(GPIOE, GPIO_PIN_4|GPIO_PIN_8|GPIO_PIN_9|GPIO_PIN_10
                          |GPIO_PIN_11|GPIO_PIN_12|GPIO_PIN_13|GPIO_PIN_14
                          |GPIO_PIN_15|GPIO_PIN_0, GPIO_PIN_RESET);

  /*Configure GPIO pin Output Level */
  HAL_GPIO_WritePin(LCD_CS_GPIO_Port, LCD_CS_Pin, GPIO_PIN_SET);

  /*Configure GPIO pin Output Level */
  HAL_GPIO_WritePin(LCD_RST_GPIO_Port, LCD_RST_Pin, GPIO_PIN_SET);

  /*Configure GPIO pin Output Level */
  HAL_GPIO_WritePin(LCD_DC_GPIO_Port, LCD_DC_Pin, GPIO_PIN_RESET);

  /*Configure GPIO pin Output Level */
  HAL_GPIO_WritePin(GPIOG, GPIO_PIN_2|GPIO_PIN_3, GPIO_PIN_RESET);

  /*Configure GPIO pins : PE4 PE8 PE9 PE10
                           PE11 PE12 PE13 PE14
                           PE15 PE0 */
  GPIO_InitStruct.Pin = GPIO_PIN_4|GPIO_PIN_8|GPIO_PIN_9|GPIO_PIN_10
                          |GPIO_PIN_11|GPIO_PIN_12|GPIO_PIN_13|GPIO_PIN_14
                          |GPIO_PIN_15|GPIO_PIN_0;
  GPIO_InitStruct.Mode = GPIO_MODE_OUTPUT_PP;
  GPIO_InitStruct.Pull = GPIO_NOPULL;
  GPIO_InitStruct.Speed = GPIO_SPEED_FREQ_LOW;
  HAL_GPIO_Init(GPIOE, &GPIO_InitStruct);

  /*Configure GPIO pin : LCD_CS_Pin */
  GPIO_InitStruct.Pin = LCD_CS_Pin;
  GPIO_InitStruct.Mode = GPIO_MODE_OUTPUT_PP;
  GPIO_InitStruct.Pull = GPIO_NOPULL;
  GPIO_InitStruct.Speed = GPIO_SPEED_FREQ_VERY_HIGH;
  HAL_GPIO_Init(LCD_CS_GPIO_Port, &GPIO_InitStruct);

  /*Configure GPIO pin : PA0 */
  GPIO_InitStruct.Pin = GPIO_PIN_0;
  GPIO_InitStruct.Mode = GPIO_MODE_INPUT;
  GPIO_InitStruct.Pull = GPIO_NOPULL;
  HAL_GPIO_Init(GPIOA, &GPIO_InitStruct);

  /*Configure GPIO pins : LCD_RST_Pin LCD_DC_Pin */
  GPIO_InitStruct.Pin = LCD_RST_Pin|LCD_DC_Pin;
  GPIO_InitStruct.Mode = GPIO_MODE_OUTPUT_PP;
  GPIO_InitStruct.Pull = GPIO_NOPULL;
  GPIO_InitStruct.Speed = GPIO_SPEED_FREQ_VERY_HIGH;
  HAL_GPIO_Init(GPIOD, &GPIO_InitStruct);

  /*Configure GPIO pins : PG2 PG3 */
  GPIO_InitStruct.Pin = GPIO_PIN_2|GPIO_PIN_3;
  GPIO_InitStruct.Mode = GPIO_MODE_OUTPUT_PP;
  GPIO_InitStruct.Pull = GPIO_NOPULL;
  GPIO_InitStruct.Speed = GPIO_SPEED_FREQ_LOW;
  HAL_GPIO_Init(GPIOG, &GPIO_InitStruct);

  /*Configure GPIO pin : PE1 */
  GPIO_InitStruct.Pin = GPIO_PIN_1;
  GPIO_InitStruct.Mode = GPIO_MODE_INPUT;
  GPIO_InitStruct.Pull = GPIO_NOPULL;
  HAL_GPIO_Init(GPIOE, &GPIO_InitStruct);

}

/* USER CODE BEGIN 4 */
//Implement ham Callback cua Timer
void HAL_TIM_PeriodElapsedCallback(TIM_HandleTypeDef *htim)
{
  if (htim->Instance == TIM6)
  {
    Run7SegDisplay(); // Goi ham quet LED trong ngat timer
  }
}
/* USER CODE END 4 */

void Error_Handler(void)
{
  __disable_irq();
  while (1)
  {
  }
}
